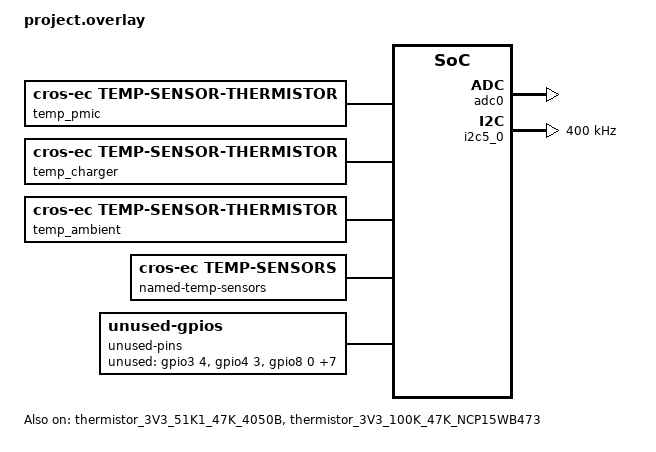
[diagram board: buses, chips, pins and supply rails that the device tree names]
/* Copyright 2025 The ChromiumOS Authors
 * Use of this source code is governed by a BSD-style license that can be
 * found in the LICENSE file.
 */

#include <cros/cbi_flash.dtsi>
#include <cros/thermistor/thermistor.dtsi>
#include "../npcx_generated.dtsi"
#include "../interrupts.dtsi"
#include "../npcx_common.dtsi"
#include "../npcx_default_gpio_pinctrl.dtsi"
#include "../npcx_keyboard.dtsi"
#include "../npcx_overlay.dtsi"
#include "../power_signal.dtsi"
#include "../npcx_usbc.dtsi"
#include "../usba.dtsi"
#include "cbi.dtsi"
#include "led_pins.dtsi"
#include "led_policy.dtsi"
#include "motionsense.dtsi"

/ {

	/* Battery parameter */
	batteries {
		default_battery: smp_smp_atl_4_106 {
			compatible = "smp,smp-atl-4-106", "battery-smart";
		};
		smp_hpt_4_122 {
			compatible = "smp,smp-hpt-4-122", "battery-smart";
		};
		smp_smp_atl_4_106_1 {
			compatible = "smp,smp-atl-4-106-1", "battery-smart";
		};
		smp_cos_4_122 {
			compatible = "smp,smp-cos-4-122", "battery-smart";
		};
		swd_atl4_106 {
			compatible = "swd,swd-atl4-106", "battery-smart";
		};
		swd_cos4_122 {
			compatible = "swd,swd-cos4-122", "battery-smart";
		};
		com_cos4_122 {
			compatible = "cosmx,com-cos4-122", "battery-smart";
		};
		atl_atl4_106 {
			compatible = "nvt,atl-atl4-106", "battery-smart";
		};
		byd_byd_1 {
			compatible = "byd,byd-1", "battery-smart";
		};
		byd_byd {
			compatible = "byd,byd", "battery-smart";
		};
	};

	aliases {
		gpio-wp = &gpio_ec_flash_wp_odl;
	};

	/* Keyboard */
	cros-keyscan {
		compatible = "cros-ec,keyscan";

		debounce-down = <15000>;
		debounce-up = <15000>;

		actual-key-mask = <
			0x08  	/* C0 */
			0xff  	/* C1 */
			0xff  	/* C2 */
			0xff  	/* C3 */
			0xff  	/* C4 */
			0xf7  	/* C5 */
			0xff  	/* C6 */
			0xa5  	/* C7 */
			0xff  	/* C8 */
			0xff  	/* C9 */
			0x01  	/* C10 */
			0xfe  	/* C11 */
			0xfe  	/* C12 */
			0x40  	/* C13 */
			0x0a  	/* C14 */
			0x40  	/* C15 */
			0x01  	/* C16 */
			0xd4  	/* C17 */
		>;
	};

	/* ADC */
	named-adc-channels {
		compatible = "named-adc-channels";

		/* PMIC Temps */
		adc_temp_sensor1: temp_sensor1 {
			enum-name = "ADC_TEMP_SENSOR_1";
			io-channels = <&adc0 1>;
		};

		/* Charger Temps */
		adc_temp_sensor2: temp_sensor2 {
			enum-name = "ADC_TEMP_SENSOR_2";
			io-channels = <&adc0 4>;
		};

		/* Ambient Temps */
		adc_temp_sensor3: temp_sensor3 {
			enum-name = "ADC_TEMP_SENSOR_3";
			io-channels = <&adc0 5>;
		};
	};

	temp_pmic: pmic {
		compatible = "cros-ec,temp-sensor-thermistor";
		thermistor = <&thermistor_3V3_100K_47K_NCP15WB473>;
		adc = <&adc_temp_sensor1>;
	};

	temp_charger: charger {
		compatible = "cros-ec,temp-sensor-thermistor";
		thermistor = <&thermistor_3V3_51K1_47K_4050B>;
		adc = <&adc_temp_sensor2>;
	};

	temp_ambient: ambient {
		compatible = "cros-ec,temp-sensor-thermistor";
		thermistor = <&thermistor_3V3_100K_47K_NCP15WB473>;
		adc = <&adc_temp_sensor3>;
	};

	named-temp-sensors {
		compatible = "cros-ec,temp-sensors";
		charger {
			temp-host-warn = <90>;
			temp-host-high = <95>;
			temp-host-halt = <105>;
			temp-host-release-warn = <89>;
			temp-host-release-high = <90>;
			temp-host-release-halt = <100>;
			sensor = <&temp_charger>;
		};
		pmic {
			temp-host-warn = <80>;
			temp-host-high = <95>;
			temp-host-halt = <105>;
			temp-host-release-warn = <79>;
			temp-host-release-high = <90>;
			temp-host-release-halt = <100>;
			sensor = <&temp_pmic>;
		};
		ambient {
			temp-host-warn = <70>;
			temp-host-high = <95>;
			temp-host-halt = <105>;
			temp-host-release-warn = <69>;
			temp-host-release-high = <90>;
			temp-host-release-halt = <100>;
			sensor = <&temp_ambient>;
		};
	};

	/* GPIO */
	gpio-interrupts {
		/delete-node/ volume-up;
		/delete-node/ volume-down;
		/delete-node/ lid-accel;

		int_lid_accel: lid-accel {
			irq-pin = <&gpio_lid_accel_int_ec_l>;
			flags = <GPIO_INT_EDGE_FALLING>;
			handler = "bma4xx_interrupt";
		};
		int_pmic_ec_resetb: pmic-ec-resetb {
			irq-pin = <&gpio_pmic_ec_resetb>;
			flags = <GPIO_INT_EDGE_BOTH>;
			handler = "pmic_ec_resetb_interrupt";
		};
	};

	named-gpios {

		/delete-node/ ec_pen_chg_dis_odl;
		/delete-node/ en_pp5000_z1;
		/delete-node/ ec_pmic_en_odl_r;
		/delete-node/ ec_volup_btn_odl;
		/delete-node/ ec_voldn_btn_odl;
		/delete-node/ ec_kso_02_inv;

		gpio_tchpad_lid_close: tchpad_lid_close {
			gpios = <&gpiof 0 GPIO_OUTPUT>;
		};
		gpio_ec_pmic_en_odl_r: ec_pmic_en_odl_r {
			gpios = <&gpio7 4 (GPIO_OUTPUT | GPIO_OPEN_DRAIN | GPIO_ACTIVE_LOW | GPIO_OUTPUT_INIT_HIGH)>;
			enum-name = "GPIO_EC_PMIC_EN_ODL";
		};
		gpio_en_pwr_s3: en_pwr_s3 {
			gpios = <&gpioc 7 (GPIO_OUTPUT | GPIO_ACTIVE_HIGH | GPIO_OUTPUT_INIT_LOW)>;
		};
		//CCD_MODE_L
		gpio_ccd_mode_l: ccd_mode_l {
			gpios = <&gpioe 5 (GPIO_INPUT)>;
		};
	};

	unused-pins {
		compatible = "unused-gpios";
		unused-gpios =
			<&gpio3 4 0>,
			<&gpio4 3 0>,
			<&gpio8 0 0>,
			<&gpio9 4 0>,
			<&gpio9 7 0>,
			<&gpioc 3 0>,
			<&gpiod 5 0>,
			<&gpiod 7 0>,
			<&gpioe 2 0>,
			<&gpioe 4 0>;
	};
};

&cros_kb_raw {
	pinctrl-0 = <
		&ksi0_gp31
		&ksi1_gp30
		&ksi2_gp27
		&ksi3_gp26
		&ksi4_gp25
		&ksi5_gp24
		&ksi6_gp23
		&ksi7_gp22
		&kso00_gp21
		&kso01_gp20
		&kso02_gp17
		&kso03_gp16
		&kso04_gp15
		&kso05_gp14
		&kso06_gp13
		&kso07_gp12
		&kso08_gp11
		&kso09_gp10
		&kso10_gp07
		&kso11_gp06
		&kso12_gp05
		&kso13_gp04
		&kso14_gp82
		&kso15_gp83
		&kso16_gp03
		&kso17_gpb1
	>;
};

&pwm0_gpc3 {
	status = "disabled";

};

&adc0 {
	status = "okay";
	pinctrl-0 = <&adc0_chan0_gp45
		&adc0_chan1_gp44
		&adc0_chan3_gp42
		&adc0_chan4_gp41
		&adc0_chan5_gp37>;
	pinctrl-names = "default";
};

&i2c5_0 {
	label = "I2C_SMB_BATT";
	clock-frequency = <I2C_BITRATE_FAST>;
	/* Upstream zephyr uses an irregular name here */
	pinctrl-0 = <&i2c5_0_sda_scl_gp33_36>;
};

&usbc_port0 {
	zephyr,deferred-init;
};

&usbc_port1 {
	zephyr,deferred-init;
};

&pdc_power_p0 {
	zephyr,deferred-init;
};

&pdc_power_p1 {
	zephyr,deferred-init;
};

&thermistor_3V3_51K1_47K_4050B {
	status = "okay";
};

&thermistor_3V3_100K_47K_NCP15WB473 {
	status = "okay";
};
